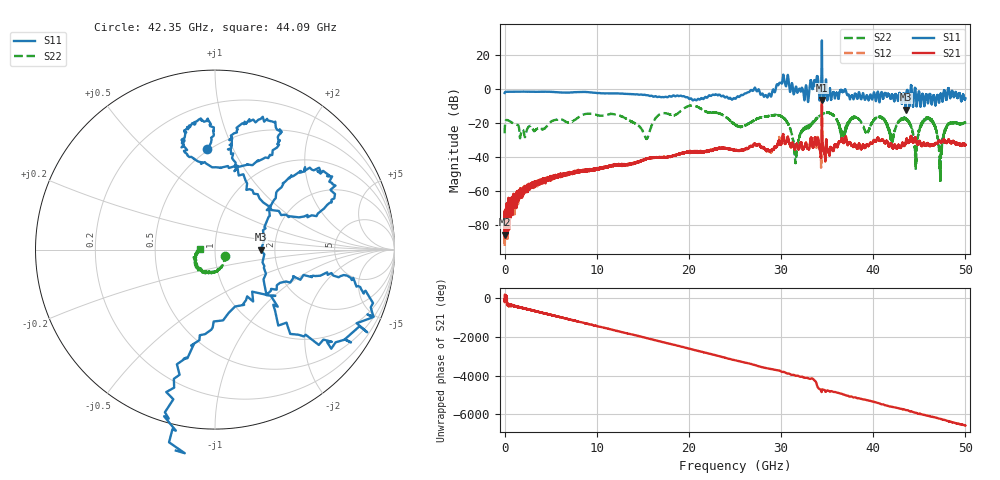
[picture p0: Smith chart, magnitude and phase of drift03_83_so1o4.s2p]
!Created with skrf (http://scikit-rf.org).
# Hz S RI R 50.0
!freq ReS11 ImS11 ReS21 ImS21 ReS12 ImS12 ReS22 ImS22
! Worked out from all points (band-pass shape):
!   10000 points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, 5.3 MHz to 50 GHz, reference 50 ohm
!   highest |S21| = -6.20 dB at 34.43 GHz (marker M1); lowest = -85.5 dB at 20.3 MHz (marker M2)
!   |S21| within 3 dB of the highest: 34.42754 GHz to 34.43433 GHz (6.797 MHz wide, 0.0197 % of centre)
!   lowest |S11| = -11.9 dB at 43.52 GHz (marker M3), VSWR 1.68, Z = 84.2 - j0.163 ohm
!   |S11| at or under -10 dB: 43.48355 GHz to 43.5487 GHz (65.15 MHz wide, 0.15 % of centre); 43.89976 GHz to 43.90043 GHz (667.2 kHz wide, 0.00152 % of centre); 45.13326 GHz to 45.14037 GHz (7.107 MHz wide, 0.0157 % of centre) (the widest 3 of 7)
!   |S22| runs from -55.3 to -9.5 dB; largest |S21 - S12| = 0.15
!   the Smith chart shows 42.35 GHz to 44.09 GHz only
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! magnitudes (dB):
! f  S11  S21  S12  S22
! 5.3 MHz  -2.1  -78.1  -91.0  -25.8
! 20.3 MHz  -1.9  -85.5  -76.8  -23.9
! 2.155 GHz  -1.3  -59.0  -58.8  -27.2
! 8.34 GHz  -1.5  -48.5  -48.5  -15.3
! 12.47 GHz  -2.4  -44.5  -44.5  -15.4
! 15.4 GHz  -3.4  -40.8  -40.9  -29.1
! 16.67 GHz  -4.4  -40.1  -39.9  -15.3
! 20.47 GHz  -6.5  -36.8  -36.8  -9.5
! 25.01 GHz  -5.5  -35.6  -36.0  -20.9
! 29.93 GHz  3.9  -32.4  -31.8  -15.6
! 31.59 GHz  1.4  -33.6  -33.9  -43.0
! 33.34 GHz  2.6  -30.2  -30.6  -20.3
! 34.43 GHz  28.8  -6.2  -8.1  -14.5
! 36.69 GHz  -1.6  -29.8  -29.6  -26.3
! 37.97 GHz  -3.1  -32.3  -32.2  -16.3
! 41.67 GHz  -2.9  -33.2  -33.3  -23.1
! 43.52 GHz  -11.9  -31.2  -31.4  -17.4
! 44.62 GHz  -2.7  -29.5  -29.4  -44.2
! 46.22 GHz  -3.7  -33.1  -33.4  -17.9
! 47.29 GHz  -3.0  -30.7  -30.8  -53.5
! 48.12 GHz  0.4  -30.5  -30.4  -20.7
! 50 GHz  -5.3  -32.6  -32.4  -19.5
